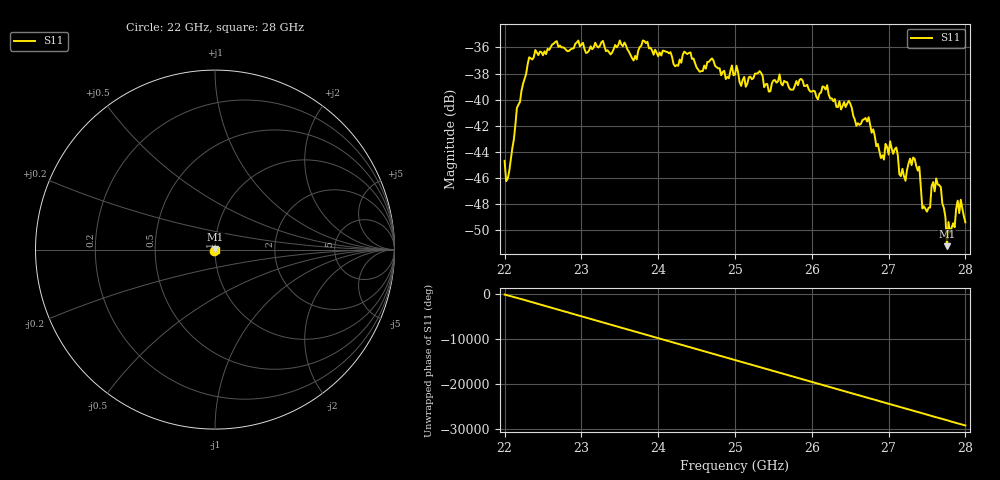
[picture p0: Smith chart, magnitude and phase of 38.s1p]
#  HZ  S  RI  R  50.00
! Rohde & Schwarz ZVA40 4Ports - Version 3.90 - 1145.1110k42 SN: 100403
! Date: 2023-10-04 10:38:20
! Measurement: S12
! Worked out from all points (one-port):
!   301 points, 22 GHz to 28 GHz, reference 50 ohm
!   lowest |S11| = -51.2 dB at 27.76 GHz (marker M1), VSWR 1.01, Z = 50.1 + j0.259 ohm
!   |S11| at or under -10 dB: start of sweep to end of sweep
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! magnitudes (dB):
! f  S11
! 22 GHz  -44.7
! 22.04 GHz  -46.1
! 22.16 GHz  -40.6
! 22.32 GHz  -36.8
! 22.76 GHz  -36.0
! 23.5 GHz  -35.5
! 24.26 GHz  -37.4
! 24.42 GHz  -36.4
! 24.54 GHz  -37.9
! 24.7 GHz  -36.8
! 25 GHz  -38.1
! 25.76 GHz  -39.2
! 26.5 GHz  -40.3
! 26.58 GHz  -42.0
! 26.74 GHz  -41.3
! 26.9 GHz  -44.5
! 27.02 GHz  -43.2
! 27.16 GHz  -45.9
! 27.26 GHz  -44.9
! 27.4 GHz  -45.1
! 27.44 GHz  -48.3
! 27.68 GHz  -46.7
! 27.74 GHz  -49.0
! 27.76 GHz  -51.2
! 27.78 GHz  -49.4
! 27.86 GHz  -49.8
! 27.9 GHz  -47.7
! 28 GHz  -49.4
